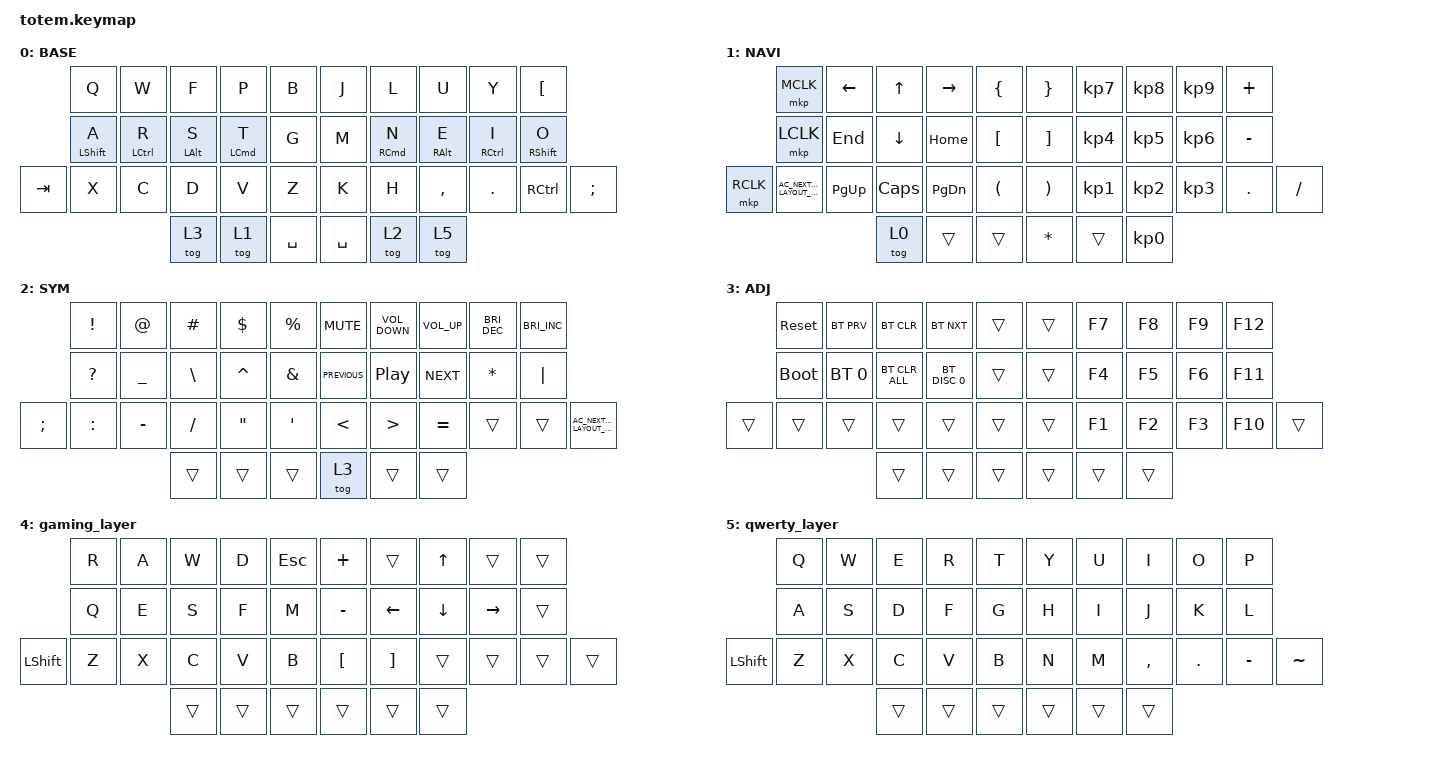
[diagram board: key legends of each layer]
//
//                                                        ▀▀▀▀▀     ▀▀▀▀▀          ▀▀█▀▀
//                                                        ▄▀▀▀▄  ▄  ▄▀▀▀▄  ▄  ▄▀▀▀▄  █  ▄▀▀▀▄
//                                                        █   █  █  █   █  █  █   █  █  █   █
//                                                         ▀▀▀   █   ▀▀▀   █   ▀▀▀   ▀   ▀▀▀
//                                                               █      ▄▄▄█▄▄▄    █   █  
//                                                               ▀      █  █  █     █▄█
//                                                             ▀▀▀▀▀    █  █  █      ▀
//                                                                      ▀  ▀  ▀
//
// ▄▄▄▄▄▄▄▄▄▄▄▄▄▄▄▄▄▄▄▄▄▄▄▄▄▄▄▄▄▄▄▄▄▄▄▄▄▄▄▄▄▄▄▄▄▄▄▄▄▄▄▄▄▄▄▄▄▄▄▄▄▄▄▄▄▄▄▄▄▄▄▄▄▄▄▄▄▄▄▄▄▄▄▄▄▄▄▄▄▄▄▄▄▄▄▄▄▄▄▄▄▄▄▄▄▄▄▄▄▄▄▄▄▄▄▄▄▄▄▄▄▄▄▄▄▄▄▄▄▄▄▄▄▄▄▄▄▄▄▄▄▄▄▄▄▄▄▄▄

#include <dt-bindings/zmk/mouse.h>
#include <behaviors.dtsi>
#include <dt-bindings/zmk/bt.h>
#include <dt-bindings/zmk/keys.h>
#include <dt-bindings/zmk/pointing.h>

#define BASE 0
#define NAV  1
#define SYM  2
#define ADJ  3
#define TVP1 4
#define TVP2 5

&mt {
    quick-tap-ms = <100>;
    global-quick-tap;
    flavor = "tap-preferred";
    tapping-term-ms = <170>;
};

/ {
    combos {
        compatible = "zmk,combos";

        combo_esc {
            timeout-ms = <50>;
            key-positions = <10 20>;
            bindings = <&kp DELETE>;
        };

        backspace {
            bindings = <&kp BACKSPACE>;
            key-positions = <9 8>;
        };

        Delete {
            bindings = <&kp ESC>;
            key-positions = <0 1>;
        };

        Tabulate {
            bindings = <&kp TAB>;
            key-positions = <11 10>;
        };

        Enter {
            bindings = <&kp ENTER>;
            key-positions = <17 18>;
        };

        gamimg {
            bindings = <&tog 4>;
            key-positions = <7 2>;
        };

        caps {
            bindings = <&kp CAPS>;
            key-positions = <21 22>;
        };
    };

    keymap {
        compatible = "zmk,keymap";

        // ▄▄▄▄▄▄▄▄▄▄▄▄▄▄▄▄▄▄▄▄▄▄▄▄▄▄▄▄▄▄▄▄▄▄▄▄▄▄▄▄▄▄▄▄▄▄▄▄▄▄▄▄▄▄▄▄▄▄▄▄▄▄▄▄▄▄▄▄▄▄▄▄▄▄▄▄▄▄▄▄▄▄▄▄▄▄▄▄▄▄▄▄▄▄▄▄▄▄▄▄▄▄▄▄▄▄▄▄▄▄▄▄▄▄▄▄▄▄▄▄▄▄▄▄▄▄▄▄▄▄▄▄▄▄▄▄▄▄▄▄▄▄▄▄▄▄▄▄▄

        base_layer {
            // ┏━━━━━━━━━━━━━━━━━━━━━━━━━━━━━━━━━━━━━━━┓

            label = "BASE";

            // ┗━━━━━━━━━━━━━━━━━━━━━━━━━━━━━━━━━━━━━━━┛
            //             ┏━━━━━━━━━━━┳━━━━━━━━━━━┳━━━━━━━━━━━┳━━━━━━━━━━━┳━━━━━━━━━━━┓   ┏━━━━━━━━━━━┳━━━━━━━━━━━┳━━━━━━━━━━━┳━━━━━━━━━━━┳━━━━━━━━━━━┓
            //             ┃     Q     ┃     W     ┃     F     ┃     P     ┃     G     ┃   ┃     J     ┃     L     ┃     U     ┃     Y     ┃     ;     ┃
            //             ┣━━━━━━━━━━━╋━━━━━━━━━━━╋━━━━━━━━━━━╋━━━━━━━━━━━╋━━━━━━━━━━━┫   ┣━━━━━━━━━━━╋━━━━━━━━━━━╋━━━━━━━━━━━╋━━━━━━━━━━━╋━━━━━━━━━━━┫
            //             ┃     A     ┃     R     ┃     S     ┃     T     ┃     D     ┃   ┃     H     ┃     N     ┃     E     ┃     I     ┃     O     ┃
            // ┏━━━━━━━━━━━╋━━━━━━━━━━━╋━━━━━━━━━━━╋━━━━━━━━━━━╋━━━━━━━━━━━╋━━━━━━━━━━━┫   ┣━━━━━━━━━━━╋━━━━━━━━━━━╋━━━━━━━━━━━╋━━━━━━━━━━━╋━━━━━━━━━━━╋━━━━━━━━━━━┓
            // ┃     Q     ┃     Z     ┃     X     ┃     C     ┃     V     ┃     B     ┃   ┃     K     ┃     M     ┃     ,     ┃     .     ┃     /     ┃     \     ┃
            // ┗━━━━━━━━━━━┻━━━━━━━━━━━┻━━━━━━━━━━━╋━━━━━━━━━━━╋━━━━━━━━━━━╋━━━━━━━━━━━┫   ┣━━━━━━━━━━━╋━━━━━━━━━━━╋━━━━━━━━━━━╋━━━━━━━━━━━┻━━━━━━━━━━━┻━━━━━━━━━━━┛
            //                                     ┃    DEL    ┃    TAB    ┃    SPC    ┃   ┃   ENTER   ┃           ┃   BSPC    ┃
            //                                     ┗━━━━━━━━━━━┻━━━━━━━━━━━┻━━━━━━━━━━━┛   ┗━━━━━━━━━━━┻━━━━━━━━━━━┻━━━━━━━━━━━┛

            bindings = <
         &kp Q             &kp W               &kp F           &kp P               &kp B        &kp J      &kp L                &kp U            &kp Y                &kp LEFT_BRACKET
         &mt LEFT_SHIFT A  &mt LEFT_CONTROL R  &mt LEFT_ALT S  &mt LEFT_COMMAND T  &kp G        &kp M      &mt RIGHT_COMMAND N  &mt RIGHT_ALT E  &mt RIGHT_CONTROL I  &mt RIGHT_SHIFT O
&kp TAB  &kp X             &kp C               &kp D           &kp V               &kp Z        &kp K      &kp H                &kp COMMA        &kp DOT              &kp RIGHT_CONTROL  &kp SEMI
                                               &tog 3          &tog 1              &kp SPACE    &kp SPACE  &tog 2               &tog 5
            >;
        };

        nav_layer {
            // ┏━━━━━━━━━━━━━━━━━━━━━━━━━━━━━━━━━━━━━━━┓

            label = "NAVI";

            // ┗━━━━━━━━━━━━━━━━━━━━━━━━━━━━━━━━━━━━━━━┛
            //             ┏━━━━━━━━━━━┳━━━━━━━━━━━┳━━━━━━━━━━━┳━━━━━━━━━━━┳━━━━━━━━━━━┓   ┏━━━━━━━━━━━┳━━━━━━━━━━━┳━━━━━━━━━━━┳━━━━━━━━━━━┳━━━━━━━━━━━┓
            //             ┃           ┃           ┃     UP    ┃           ┃     {     ┃   ┃     }     ┃     7     ┃     8     ┃     9     ┃     +     ┃
            //             ┣━━━━━━━━━━━╋━━━━━━━━━━━╋━━━━━━━━━━━╋━━━━━━━━━━━╋━━━━━━━━━━━┫   ┣━━━━━━━━━━━╋━━━━━━━━━━━╋━━━━━━━━━━━╋━━━━━━━━━━━╋━━━━━━━━━━━┫
            //             ┃   SHIFT   ┃   LEFT    ┃    DOWN   ┃   RIGHT   ┃     [     ┃   ┃     ]     ┃     4     ┃     5     ┃     6     ┃     -     ┃
            // ┏━━━━━━━━━━━╋━━━━━━━━━━━╋━━━━━━━━━━━╋━━━━━━━━━━━╋━━━━━━━━━━━╋━━━━━━━━━━━┫   ┣━━━━━━━━━━━╋━━━━━━━━━━━╋━━━━━━━━━━━╋━━━━━━━━━━━╋━━━━━━━━━━━╋━━━━━━━━━━━┓
            // ┃           ┃           ┃   P UP    ┃  C LOCK   ┃  P DOWN   ┃     (     ┃   ┃     )     ┃     1     ┃     2     ┃     3     ┃     *     ┃           ┃
            // ┗━━━━━━━━━━━┻━━━━━━━━━━━┻━━━━━━━━━━━╋━━━━━━━━━━━╋━━━━━━━━━━━╋━━━━━━━━━━━┫   ┣━━━━━━━━━━━╋━━━━━━━━━━━╋━━━━━━━━━━━╋━━━━━━━━━━━┻━━━━━━━━━━━┻━━━━━━━━━━━┛
            //                                     ┃           ┃    TAB    ┃    SPC    ┃   ┃    DEL    ┃     0     ┃           ┃
            //                                     ┗━━━━━━━━━━━┻━━━━━━━━━━━┻━━━━━━━━━━━┛   ┗━━━━━━━━━━━┻━━━━━━━━━━━┻━━━━━━━━━━━┛

            bindings = <
           &mkp MCLK                             &kp LEFT_ARROW  &kp UP    &kp RIGHT_ARROW  &kp LBRC    &kp RBRC      &kp KP_N7  &kp KP_N8        &kp KP_N9  &kp PLUS
           &mkp LCLK                             &kp END         &kp DOWN  &kp HOME         &kp LBKT    &kp RBKT      &kp KP_N4  &kp KP_N5        &kp KP_N6  &kp MINUS
&mkp RCLK  &kp C_AC_NEXT_KEYBOARD_LAYOUT_SELECT  &kp PG_UP       &kp CAPS  &kp PG_DN        &kp LPAR    &kp RPAR      &kp KP_N1  &kp KP_N2        &kp KP_N3  &kp DOT    &kp SLASH
                                                                 &tog 0    &trans           &trans      &kp ASTERISK  &trans     &kp KP_NUMBER_0
            >;
        };

        sim_layer {
            // ┏━━━━━━━━━━━━━━━━━━━━━━━━━━━━━━━━━━━━━━━┓

            label = "SYM";

            // ┗━━━━━━━━━━━━━━━━━━━━━━━━━━━━━━━━━━━━━━━┛
            //             ┏━━━━━━━━━━━┳━━━━━━━━━━━┳━━━━━━━━━━━┳━━━━━━━━━━━┳━━━━━━━━━━━┓   ┏━━━━━━━━━━━┳━━━━━━━━━━━┳━━━━━━━━━━━┳━━━━━━━━━━━┳━━━━━━━━━━━┓
            //             ┃     !     ┃     @     ┃     #     ┃     $     ┃     %     ┃   ┃     ˆ     ┃     &     ┃     Ü     ┃     '     ┃     "     ┃
            //             ┣━━━━━━━━━━━╋━━━━━━━━━━━╋━━━━━━━━━━━╋━━━━━━━━━━━╋━━━━━━━━━━━┫   ┣━━━━━━━━━━━╋━━━━━━━━━━━╋━━━━━━━━━━━╋━━━━━━━━━━━╋━━━━━━━━━━━┫
            //             ┃     Ä     ┃           ┃    SZ     ┃           ┃           ┃   ┃   MUTE    ┃   YEN     ┃   EURO    ┃  POUND    ┃     Ö     ┃
            // ┏━━━━━━━━━━━╋━━━━━━━━━━━╋━━━━━━━━━━━╋━━━━━━━━━━━╋━━━━━━━━━━━╋━━━━━━━━━━━┫   ┣━━━━━━━━━━━╋━━━━━━━━━━━╋━━━━━━━━━━━╋━━━━━━━━━━━╋━━━━━━━━━━━╋━━━━━━━━━━━┓
            // ┃           ┃  EMAIL1   ┃  EMAIL2   ┃           ┃           ┃           ┃   ┃   VOL-    ┃   VOL+    ┃   LAST    ┃   NEXT    ┃     \     ┃           ┃
            // ┗━━━━━━━━━━━┻━━━━━━━━━━━┻━━━━━━━━━━━╋━━━━━━━━━━━╋━━━━━━━━━━━╋━━━━━━━━━━━┫   ┣━━━━━━━━━━━╋━━━━━━━━━━━╋━━━━━━━━━━━╋━━━━━━━━━━━┻━━━━━━━━━━━┻━━━━━━━━━━━┛
            //                                     ┃           ┃    GIF    ┃    ADJ    ┃   ┃           ┃           ┃           ┃
            //                                     ┗━━━━━━━━━━━┻━━━━━━━━━━━┻━━━━━━━━━━━┛   ┗━━━━━━━━━━━┻━━━━━━━━━━━┻━━━━━━━━━━━┛

            bindings = <
               &kp EXCL      &kp AT     &kp HASH       &kp DLLR           &kp PRCNT           &kp K_MUTE      &kp C_VOLUME_DOWN  &kp C_VOLUME_UP  &kp C_BRIGHTNESS_DEC  &kp C_BRIGHTNESS_INC
               &kp QUESTION  &kp UNDER  &kp BACKSLASH  &kp CARET          &kp AMPERSAND       &kp C_PREVIOUS  &kp C_PLAY_PAUSE   &kp C_NEXT       &kp ASTERISK          &kp PIPE
&kp SEMICOLON  &kp COLON     &kp MINUS  &kp SLASH      &kp DOUBLE_QUOTES  &kp SINGLE_QUOTE    &kp LESS_THAN   &kp GREATER_THAN   &kp EQUAL        &trans                &trans                &kp C_AC_NEXT_KEYBOARD_LAYOUT_SELECT
                                        &trans         &trans             &trans              &tog 3          &trans             &trans
            >;
        };

        fn_layer {
            // ┏━━━━━━━━━━━━━━━━━━━━━━━━━━━━━━━━━━━━━━━┓

            label = "ADJ";

            // ┗━━━━━━━━━━━━━━━━━━━━━━━━━━━━━━━━━━━━━━━┛
            //             ┏━━━━━━━━━━━┳━━━━━━━━━━━┳━━━━━━━━━━━┳━━━━━━━━━━━┳━━━━━━━━━━━┓   ┏━━━━━━━━━━━┳━━━━━━━━━━━┳━━━━━━━━━━━┳━━━━━━━━━━━┳━━━━━━━━━━━┓
            //             ┃   RESET   ┃ BT CLEAR  ┃  OUT TOG  ┃           ┃           ┃   ┃           ┃    F7     ┃    F8     ┃    F9     ┃    F12    ┃
            //             ┣━━━━━━━━━━━╋━━━━━━━━━━━╋━━━━━━━━━━━╋━━━━━━━━━━━╋━━━━━━━━━━━┫   ┣━━━━━━━━━━━╋━━━━━━━━━━━╋━━━━━━━━━━━╋━━━━━━━━━━━╋━━━━━━━━━━━┫
            //             ┃ BOOTLOAD  ┃ BT NEXT   ┃           ┃           ┃           ┃   ┃           ┃    F4     ┃    F5     ┃    F6     ┃    F11    ┃
            // ┏━━━━━━━━━━━╋━━━━━━━━━━━╋━━━━━━━━━━━╋━━━━━━━━━━━╋━━━━━━━━━━━╋━━━━━━━━━━━┫   ┣━━━━━━━━━━━╋━━━━━━━━━━━╋━━━━━━━━━━━╋━━━━━━━━━━━╋━━━━━━━━━━━╋━━━━━━━━━━━┓
            // ┃           ┃           ┃ BT PREV   ┃           ┃           ┃           ┃   ┃           ┃    F1     ┃    F2     ┃    F3     ┃    F10    ┃           ┃
            // ┗━━━━━━━━━━━┻━━━━━━━━━━━┻━━━━━━━━━━━╋━━━━━━━━━━━╋━━━━━━━━━━━╋━━━━━━━━━━━┫   ┣━━━━━━━━━━━╋━━━━━━━━━━━╋━━━━━━━━━━━╋━━━━━━━━━━━┻━━━━━━━━━━━┻━━━━━━━━━━━┛
            //                                     ┃           ┃           ┃           ┃   ┃           ┃           ┃           ┃
            //                                     ┗━━━━━━━━━━━┻━━━━━━━━━━━┻━━━━━━━━━━━┛   ┗━━━━━━━━━━━┻━━━━━━━━━━━┻━━━━━━━━━━━┛

            bindings = <
        &sys_reset   &bt BT_PRV    &bt BT_CLR      &bt BT_NXT     &trans    &trans  &kp F7  &kp F8  &kp F9  &kp F12
        &bootloader  &bt BT_SEL 0  &bt BT_CLR_ALL  &bt BT_DISC 0  &trans    &trans  &kp F4  &kp F5  &kp F6  &kp F11
&trans  &trans       &trans        &trans          &trans         &trans    &trans  &kp F1  &kp F2  &kp F3  &kp F10  &trans
                                   &trans          &trans         &trans    &trans  &trans  &trans
            >;
        };

        gaming_layer {
            bindings = <
                &kp R  &kp A  &kp W   &kp D   &kp ESC    &kp PLUS          &trans             &kp UP_ARROW  &trans     &trans
                &kp Q  &kp E  &kp S   &kp F   &kp M      &kp MINUS         &kp LEFT_ARROW     &kp DOWN      &kp RIGHT  &trans
&kp LEFT_SHIFT  &kp Z  &kp X  &kp C   &kp V   &kp B      &kp LEFT_BRACKET  &kp RIGHT_BRACKET  &trans        &trans     &trans  &trans
                              &trans  &trans  &trans     &trans            &trans             &trans
            >;
        };

        qwerty_layer {
            bindings = <
                &kp Q  &kp W  &kp E   &kp R   &kp T     &kp Y   &kp U   &kp I      &kp O       &kp P
                &kp A  &kp S  &kp D   &kp F   &kp G     &kp H   &kp I   &kp J      &kp K       &kp L
&kp LEFT_SHIFT  &kp Z  &kp X  &kp C   &kp V   &kp B     &kp N   &kp M   &kp COMMA  &kp PERIOD  &kp MINUS  &kp TILDE
                              &trans  &trans  &trans    &trans  &trans  &trans
            >;
        };
    };
};
